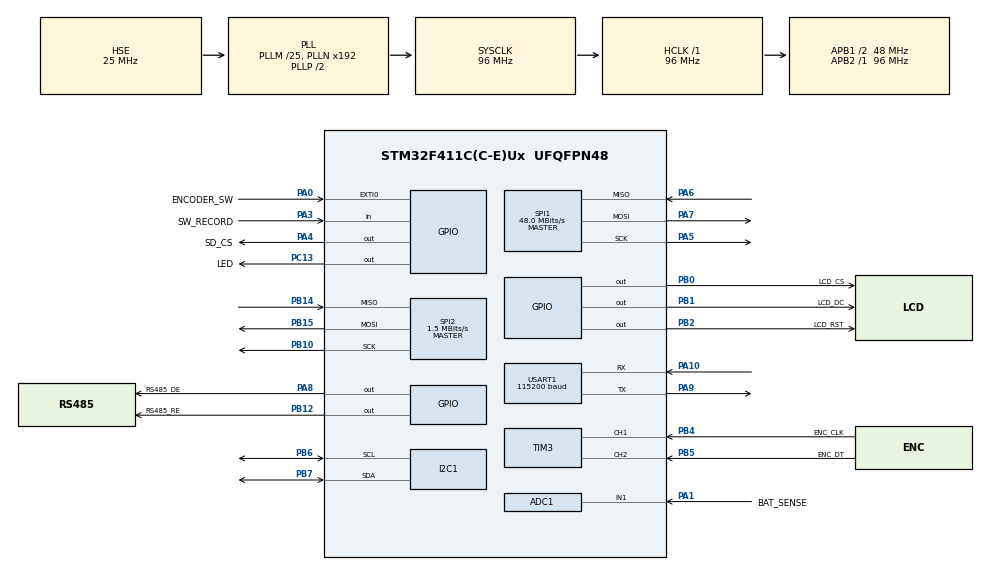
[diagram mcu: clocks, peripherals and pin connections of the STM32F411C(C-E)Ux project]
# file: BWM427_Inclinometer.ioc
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ADC1.Channel-0\#ChannelRegularConversion=ADC_CHANNEL_1
ADC1.NbrOfConversionFlag=1
ADC1.Rank-0\#ChannelRegularConversion=1
ADC1.SamplingTime-0\#ChannelRegularConversion=ADC_SAMPLETIME_3CYCLES
ADC1.master=1
FATFS._USE_LFN=3
Mcu.Family=STM32F4
Mcu.Name=STM32F411C(C-E)Ux
Mcu.Package=UFQFPN48
NVIC.EXTI0_IRQn=true\:0\:0\:false\:false\:true\:true\:true\:true
NVIC.PriorityGroup=NVIC_PRIORITYGROUP_4
NVIC.USART1_IRQn=true\:0\:0\:false\:false\:true\:true\:true\:true
PA0-WKUP.GPIO_Label=ENCODER_SW
PA0-WKUP.GPIO_ModeDefaultEXTI=GPIO_MODE_IT_FALLING
PA0-WKUP.Signal=GPXTI0
PA1.GPIO_Label=BAT_SENSE
PA1.Signal=ADCx_IN1
PA10.Mode=Asynchronous
PA10.Signal=USART1_RX
PA3.GPIO_Label=SW_RECORD
PA3.GPIO_PuPd=GPIO_PULLUP
PA3.Signal=GPIO_Input
PA4.GPIO_Label=SD_CS
PA4.GPIO_Speed=GPIO_SPEED_FREQ_VERY_HIGH
PA4.PinState=GPIO_PIN_SET
PA4.Signal=GPIO_Output
PA5.Mode=Full_Duplex_Master
PA5.Signal=SPI1_SCK
PA6.Mode=Full_Duplex_Master
PA6.Signal=SPI1_MISO
PA7.Mode=Full_Duplex_Master
PA7.Signal=SPI1_MOSI
PA8.GPIO_Label=RS485_DE
PA8.Signal=GPIO_Output
PA9.Mode=Asynchronous
PA9.Signal=USART1_TX
PB0.GPIO_Label=LCD_CS
PB0.GPIO_Speed=GPIO_SPEED_FREQ_VERY_HIGH
PB0.PinState=GPIO_PIN_SET
PB0.Signal=GPIO_Output
PB1.GPIO_Label=LCD_DC
PB1.GPIO_Speed=GPIO_SPEED_FREQ_VERY_HIGH
PB1.PinState=GPIO_PIN_SET
PB1.Signal=GPIO_Output
PB10.Mode=Full_Duplex_Master
PB10.Signal=SPI2_SCK
PB12.GPIO_Label=RS485_RE
PB12.Signal=GPIO_Output
PB14.Mode=Full_Duplex_Master
PB14.Signal=SPI2_MISO
PB15.Mode=Full_Duplex_Master
PB15.Signal=SPI2_MOSI
PB2.GPIO_Label=LCD_RST
PB2.GPIO_Speed=GPIO_SPEED_FREQ_VERY_HIGH
PB2.PinState=GPIO_PIN_SET
PB2.Signal=GPIO_Output
PB4.GPIO_Label=ENC_CLK
PB4.Signal=S_TIM3_CH1
PB5.GPIO_Label=ENC_DT
PB5.Signal=S_TIM3_CH2
PB6.Mode=I2C
PB6.Signal=I2C1_SCL
PB7.Mode=I2C
PB7.Signal=I2C1_SDA
PC13-ANTI_TAMP.GPIO_Label=LED
PC13-ANTI_TAMP.Signal=GPIO_Output
PH0\ -\ OSC_IN.Mode=HSE-External-Oscillator
PH0\ -\ OSC_IN.Signal=RCC_OSC_IN
PH1\ -\ OSC_OUT.Mode=HSE-External-Oscillator
PH1\ -\ OSC_OUT.Signal=RCC_OSC_OUT
ProjectManager.HeapSize=0x1000
ProjectManager.StackSize=0x400
ProjectManager.TargetToolchain=STM32CubeIDE
RCC.48MHZClocksFreq_Value=48000000
RCC.AHBFreq_Value=96000000
RCC.APB1CLKDivider=RCC_HCLK_DIV2
RCC.APB1Freq_Value=48000000
RCC.APB1TimFreq_Value=96000000
RCC.APB2Freq_Value=96000000
RCC.APB2TimFreq_Value=96000000
RCC.CortexFreq_Value=96000000
RCC.HCLKFreq_Value=96000000
RCC.HSE_VALUE=25000000
RCC.HSI_VALUE=16000000
RCC.LSE_VALUE=32768
RCC.PLLM=25
RCC.PLLSourceVirtual=RCC_PLLSOURCE_HSE
RCC.SYSCLKFreq_VALUE=96000000
RCC.SYSCLKSource=RCC_SYSCLKSOURCE_PLLCLK
RCC.VCOOutputFreq_Value=192000000
SH.ADCx_IN1.0=ADC1_IN1,IN1
SH.S_TIM3_CH1.0=TIM3_CH1,Encoder_Interface
SH.S_TIM3_CH2.0=TIM3_CH2,Encoder_Interface
SPI1.BaudRatePrescaler=SPI_BAUDRATEPRESCALER_2
SPI1.CalculateBaudRate=48.0 MBits/s
SPI1.Direction=SPI_DIRECTION_2LINES
SPI1.Mode=SPI_MODE_MASTER
SPI1.VirtualType=VM_MASTER
SPI2.BaudRatePrescaler=SPI_BAUDRATEPRESCALER_32
SPI2.CalculateBaudRate=1.5 MBits/s
SPI2.Direction=SPI_DIRECTION_2LINES
SPI2.Mode=SPI_MODE_MASTER
SPI2.VirtualType=VM_MASTER
TIM3.EncoderMode=TIM_ENCODERMODE_TI12
TIM3.IC1Filter=10
TIM3.IC2Filter=10
USART1.BaudRate=115200
USART1.VirtualMode=VM_ASYNC
VP_FATFS_VS_Generic.Mode=User_defined
board=custom

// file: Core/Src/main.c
/* USER CODE BEGIN Header */
/**
 ******************************************************************************
 * @file           : main.c
 * @brief          : Main program body
 ******************************************************************************
 * @attention
 *
 * Copyright (c) 2026 STMicroelectronics.
 * All rights reserved.
 *
 * This software is licensed under terms that can be found in the LICENSE file
 * in the root directory of this software component.
 * If no LICENSE file comes with this software, it is provided AS-IS.
 *
 ******************************************************************************
 */
/* USER CODE END Header */
#include "main.h"
#include "fatfs.h"

/* USER CODE BEGIN Includes */
#include <stdio.h>
#include <string.h>
#include <stdlib.h>
#include <math.h>
#include "ili9341.h"     // Подключить драйвер дисплея
#include "fonts.h"       // Подключить шрифты дисплея
#include "diskio.h"
#include "fatfs_sd.h"

// Структура для модуля часов (RTC)
typedef struct {
	uint8_t seconds, minutes, hours, day, date, month, year;
} RTC_Time;

RTC_Time current_time; // Глобальная переменная для хранения времени

/* USER CODE END Includes */

ADC_HandleTypeDef hadc1;

I2C_HandleTypeDef hi2c1;

SPI_HandleTypeDef hspi1;
SPI_HandleTypeDef hspi2;

TIM_HandleTypeDef htim3;

UART_HandleTypeDef huart1;

/* USER CODE BEGIN PV */
// --- Данные датчика и математика ---
uint8_t rx_buffer[9];
float angle_x[2] = { 0.0f, 0.0f }, angle_y[2] = { 0.0f, 0.0f }; // Массивы на 2 датчика
float offset_x[2] = { 0.0f, 0.0f }, offset_y[2] = { 0.0f, 0.0f };
uint8_t sensor2_online = 0; // Флаг: 0 - один датчик, 1 - два датчика
uint8_t modbus_ready = 0;

// --- EMA фильтрация ---
float ema_alpha = 0.15f; // Коэффициент сглаживания (от 0.01 до 0.99)
float ema_x = 0.0f, ema_y = 0.0f;
uint8_t ema_initialized = 0;

// --- Файловая система (SD карта) ---
FATFS fs;
FIL fil[2];
uint8_t is_recording = 0;
uint16_t file_number = 0;
uint8_t sd_err_code = 0; // Переменная для кода ошибки
char current_filename[16];

// --- Интерфейс и энкодер ---
int16_t last_encoder_cnt = 0;
int8_t menu_index = 0;
uint8_t edit_mode = 0;
uint16_t log_freq_hz = 10;
uint32_t log_delay_ms = 100;
int8_t prev_menu_index = -1;
uint8_t prev_edit_mode = 255;

// --- Мониторинг питания ---
float battery_v = 0.0f;

// --- Настройка RS485 (MAX485) ---
#define RS485_DE_PIN  RS485_DE_Pin
#define RS485_DE_PORT RS485_DE_GPIO_Port
#define RS485_RE_PIN  RS485_RE_Pin
#define RS485_RE_PORT RS485_RE_GPIO_Port

// --- Системные таймеры и алгоритм стабильности ---
uint32_t record_start_ms = 0;
float stability_buffer[10] = { 0 };
uint8_t buffer_idx = 0;
uint8_t is_stable = 0;
uint32_t lcd_timer = 0;

/* USER CODE END PV */

void SystemClock_Config(void);
static void MX_GPIO_Init(void);
static void MX_USART1_UART_Init(void);
static void MX_I2C1_Init(void);
static void MX_ADC1_Init(void);
static void MX_TIM3_Init(void);
static void MX_SPI2_Init(void);
static void MX_SPI1_Init(void);
/* USER CODE BEGIN PFP */
// Опросить датчик по протоколу Modbus RTU
void BWM427_ReadAngles(uint8_t sensor_id);

// Применить экспоненциальное сглаживание для фильтрации данных
float apply_ema(float old_value, float new_value, float alpha);

// Рассчитать контрольную сумму CRC16 для пакета Modbus
uint16_t Modbus_CRC16(uint8_t *buf, uint16_t len);

// Считать текущее время с модуля RTC (I2C)
void DS3231_GetTime(RTC_Time *time);
void DS3231_SetFullTime(uint8_t h, uint8_t m, uint8_t s, uint8_t d, uint8_t mo,
		uint8_t y);

// Отрисовать прямоугольную рамку на дисплее
void My_DrawFrame(uint16_t x, uint16_t y, uint16_t w, uint16_t h,
		uint16_t color);

uint8_t Dec_To_BCD(uint8_t val);
/* USER CODE END PFP */

int main(void) {

	/* MCU Configuration--------------------------------------------------------*/

	/* Reset of all peripherals, Initializes the Flash interface and the Systick. */
	HAL_Init();

	/* Configure the system clock */
	SystemClock_Config();

	/* Initialize all configured peripherals */
	MX_GPIO_Init();
	MX_USART1_UART_Init();
	MX_I2C1_Init();
	MX_FATFS_Init();
	MX_ADC1_Init();
	MX_TIM3_Init();
	MX_SPI2_Init();
	MX_SPI1_Init();
	/* USER CODE BEGIN 2 */
	// Выждать время для стабилизации питания и инициализации USB
	HAL_Delay(1000);

	// === ИНИЦИАЛИЗАЦИЯ ДИСПЛЕЯ ===
	ILI9341_Init();
	ILI9341_FillScreen(0x0000);

	// === ПИНГ ДАТЧИКА №2 ===
	BWM427_ReadAngles(0x02);
	if (angle_x[1] != 0.0f || angle_y[1] != 0.0f) {
		sensor2_online = 1; // Второй датчик откликнулся
	} else {
		sensor2_online = 0; // Разъем пуст
	}

	// Запустить таймер энкодера (аппаратный подсчет импульсов)
	HAL_TIM_Encoder_Start(&htim3, TIM_CHANNEL_ALL);

	// Запустить АЦП для мониторинга напряжения батареи
	HAL_ADC_Start(&hadc1);

	// Считать начальное значение энкодера
	last_encoder_cnt = __HAL_TIM_GET_COUNTER(&htim3);

	// �?нициализировать SD-карту
	HAL_Delay(500);
	FRESULT res = f_mount(&fs, "", 1);
	if (res == FR_OK) {
		FILINFO fno;
		for (uint16_t i = 1; i <= 999; i++) {
			sprintf(current_filename, "M_%03d.CSV", i);
			if (f_stat(current_filename, &fno) != FR_OK) {
				file_number = i;
				break;
			}
		}
	} else {
		file_number = 0;
		sd_err_code = res; // Сохраняем код ошибки!
	}
	// === ИНДИКАЦИЯ УСПЕШНОГО ЗАПУСКА ===
	for (int i = 0; i < 6; i++) {
		HAL_GPIO_TogglePin(GPIOC, GPIO_PIN_13);
		HAL_Delay(100);
	}
	HAL_GPIO_WritePin(GPIOC, GPIO_PIN_13, GPIO_PIN_SET);
	/* USER CODE END 2 */

	/* Infinite loop */
	/* USER CODE BEGIN WHILE */

	// Настройка времени
	DS3231_GetTime(&current_time);
	if (current_time.year < 26) {
		// Если год меньше 26, прошиваем время (например: 11:11:00, 11 сентября 01 года)
		DS3231_SetFullTime(21, 25, 00, 28, 5, 26);
	}

	static uint8_t last_sw_state = 0; // Сохранить прошлое состояние тумблера
	while (1) {
		char str_lcd[64];
		DS3231_GetTime(&current_time); // Получаем время с часов

		// 1. ОБРАБОТКА ЭНКОДЕРА (Защита от скачков и дребезка контактов)
		int16_t current_cnt = __HAL_TIM_GET_COUNTER(&htim3);
		int16_t raw_diff = (int16_t) (current_cnt - last_encoder_cnt);

		if (raw_diff >= 4 || raw_diff <= -4) {
			int16_t diff = (raw_diff / 4);
			last_encoder_cnt = current_cnt;

			if (edit_mode) {
				if (menu_index == 0) { // Настройка частоты
					log_freq_hz += diff;
					if (log_freq_hz < 1)
						log_freq_hz = 1;
					if (log_freq_hz > 50)
						log_freq_hz = 50;
					log_delay_ms = 1000 / log_freq_hz;
				} else if (menu_index == 1) { // Настройка Alpha фильтра
					ema_alpha += (float) diff * 0.01f;
					if (ema_alpha < 0.01f)
						ema_alpha = 0.01f;
					if (ema_alpha > 0.99f)
						ema_alpha = 0.99f;
				}
			} else {
				menu_index += diff;
				while (menu_index < 0)
					menu_index += 3;
				while (menu_index > 2)
					menu_index -= 3;
			}
		}

		// 2. МГНОВЕННАЯ ОТРИСОВКА РАМКИ (Эстетичная сетка)
		if (menu_index != prev_menu_index || edit_mode != prev_edit_mode) {
			// Координаты для 3 пунктов: 0-Freq, 1-Alpha, 2-Zero
			const uint16_t frame_x[3] = { 15, 165, 75 };
			const uint16_t frame_y[3] = { 145, 145, 185 };
			const uint16_t frame_w[3] = { 115, 125, 170 };

			if (prev_menu_index != -1) {
				// Стираем старую рамку цветом фона (черным)
				My_DrawFrame(frame_x[prev_menu_index], frame_y[prev_menu_index],
						frame_w[prev_menu_index], 24, 0x0000);
			}

			// Рисуем новую рамку (Желтая - редактирование, Голубая - выбор)
			uint16_t frame_color = edit_mode ? 0xFFE0 : 0x07FF;
			My_DrawFrame(frame_x[menu_index], frame_y[menu_index],
					frame_w[menu_index], 24, frame_color);

			prev_menu_index = menu_index;
			prev_edit_mode = edit_mode;
		}

		// 3. УПРАВЛЕНИЕ ЗАПИСЬЮ
		static uint8_t recording_blocked = 0; // Флаг блокировки авто-старта после сбоя
		uint8_t current_sw = HAL_GPIO_ReadPin(SW_RECORD_GPIO_Port,
		SW_RECORD_Pin);

		if (current_sw == 0) { // ЗАПИСЬ
			if (!is_recording && !recording_blocked && file_number > 0) {
				if (sensor2_online == 0) {
					BWM427_ReadAngles(0x02);
					if (angle_x[1] != 0.0f || angle_y[1] != 0.0f) {
						sensor2_online = 1; // Ура, его воткнули!
					}
				}
				char header[] =
						"Time,RawX,RawY,OffsetX,OffsetY,CalcX,CalcY,BatV\n";
				UINT bw;

				// Создаем файл для датчика №1
				sprintf(current_filename, "M_%03d_1.CSV", file_number);
				if (f_open(&fil[0], current_filename,
				FA_CREATE_ALWAYS | FA_WRITE) == FR_OK) {
					f_write(&fil[0], header, strlen(header), &bw);
				}

				// Если есть датчик №2, сразу создаем и для него
				if (sensor2_online) {
					sprintf(current_filename, "M_%03d_2.CSV", file_number);
					if (f_open(&fil[1], current_filename,
					FA_CREATE_ALWAYS | FA_WRITE) == FR_OK) {
						f_write(&fil[1], header, strlen(header), &bw);
					}
				}
				record_start_ms = HAL_GetTick();
				is_recording = 1;
			}
		} else { // СТОП
			recording_blocked = 0;
			if (is_recording) {
				f_close(&fil[0]);
				if (sensor2_online)
					f_close(&fil[1]); // Закрываем оба файла
				is_recording = 0;
				file_number++;
			}
		}
		last_sw_state = current_sw;

		// 4. ОПРОС ДАТЧИКА, РАСЧЕТ СТАБИЛЬНОСТИ И ЗАПИСЬ
		static uint32_t sensor_timer = 0;
		if (HAL_GetTick() - sensor_timer >= log_delay_ms) {

			BWM427_ReadAngles(0x01); // Опрос основного
			if (sensor2_online) {
				BWM427_ReadAngles(0x02); // Опрос резервного (если подключен)
			}

			// Для расчетов стабильности и экрана берем данные с первого (главного) датчика
			float calc_x = angle_x[0] - offset_x[0];
			float calc_y = angle_y[0] - offset_y[0];

			stability_buffer[buffer_idx] = calc_x;
			buffer_idx = (buffer_idx + 1) % 10;

			float min_v = stability_buffer[0], max_v = stability_buffer[0];
			for (int i = 1; i < 10; i++) {
				if (stability_buffer[i] < min_v)
					min_v = stability_buffer[i];
				if (stability_buffer[i] > max_v)
					max_v = stability_buffer[i];
			}
			is_stable = (max_v - min_v < 0.05f) ? 1 : 0;

			if (is_recording) {
				for (uint8_t i = 0; i < (sensor2_online ? 2 : 1); i++) {
					char buf[128];
					float cx = angle_x[i] - offset_x[i];
					float cy = angle_y[i] - offset_y[i];

					sprintf(buf,
							"%02d.%02d.%02d %02d:%02d:%02d,%.3f,%.3f,%.3f,%.3f,%.3f,%.3f,%.1f\n",
							current_time.date, current_time.month,
							current_time.year, current_time.hours,
							current_time.minutes, current_time.seconds,
							angle_x[i], angle_y[i], offset_x[i], offset_y[i],
							cx, cy, battery_v);

					UINT bw;
					FRESULT w_res = f_write(&fil[i], buf, strlen(buf), &bw);
					f_sync(&fil[i]);

					// Защита при случайном выдергивании
					if (w_res != FR_OK || bw == 0) {
						f_close(&fil[0]);
						if (sensor2_online)
							f_close(&fil[1]);
						is_recording = 0;
						file_number = 0;
						sd_err_code = w_res;
						recording_blocked = 1;
						HAL_SPI_DeInit(&hspi2);
						MX_SPI2_Init();
						break; // Выход из цикла записи
					}
				}
			}
			sensor_timer = HAL_GetTick();
		}

		// 5. МОНИТОРИНГ БАТАРЕИ
		static uint32_t bat_timer = 0;
		if (HAL_GetTick() - bat_timer >= 1000) {
			if (HAL_ADC_PollForConversion(&hadc1, 10) == HAL_OK) {
				uint32_t adc_val = HAL_ADC_GetValue(&hadc1);
				battery_v = ((float) adc_val / 4095.0f) * 3.3f * 4.03f;
			}
			HAL_ADC_Start(&hadc1);
			bat_timer = HAL_GetTick();
		}

		// === ПРОВЕРКА НАЛИЧИЯ SD КАРТЫ (ПРЯМОЙ АППАРАТНЫЙ ОБХОД) ===
		static uint32_t sd_check_timer = 0;
		static FRESULT last_mount_res = FR_NOT_READY;

		if (!is_recording && (HAL_GetTick() - sd_check_timer >= 2000)) {
			// 1. Смахиваем аппаратные ошибки SPI от дребезга контактов
			if (__HAL_SPI_GET_FLAG(&hspi2, SPI_FLAG_OVR)) {
				__HAL_SPI_CLEAR_OVRFLAG(&hspi2);
			}

			if (file_number > 0) {
				// 2. ПРОВЕРКА В ОБХОД КЭША ST. Читаем физический сектор 0 напрямую!
				static uint8_t check_buf[512];
				if (SD_disk_read(0, check_buf, 0, 1) != RES_OK) {
					// Физического ответа нет — карту 100% выдернули!
					file_number = 0;
					f_mount(NULL, "", 0);
					last_mount_res = FR_NOT_READY;
				}
			} else {
				f_mount(NULL, "", 0);

				// 3.Вызываем инициализацию напрямую!
				SD_disk_initialize(0);

				// 4. Монтируем.
				last_mount_res = f_mount(&fs, "", 1);

				if (last_mount_res == FR_OK) {
					recording_blocked = 0;
					FILINFO fno;
					for (uint16_t i = 1; i <= 999; i++) {
						sprintf(current_filename, "M_%03d.CSV", i);
						if (f_stat(current_filename, &fno) == FR_NO_FILE) {
							file_number = i;
							break;
						}
					}
					if (file_number == 0)
						file_number = 1;
				}
			}
			sd_check_timer = HAL_GetTick();
		}
		// 6. ОБНОВЛЕНИЕ ЭКРАНА
		if (HAL_GetTick() - lcd_timer >= 50) {
			static float old_x = -999.0f, old_y = -999.0f;
			float cur_x = angle_x[0] - offset_x[0]; // Экран всегда показывает датчик 1
			float cur_y = angle_y[0] - offset_y[0];

			// Углы
			if (fabsf(cur_x - old_x) > 0.005f) {
				sprintf(str_lcd, "X: %+7.3f ", cur_x);
				ILI9341_WriteString(10, 40, str_lcd, Font_16x26, 0xFFFF,
						0x0000);
				old_x = cur_x;
			}
			if (fabsf(cur_y - old_y) > 0.005f) {
				sprintf(str_lcd, "Y: %+7.3f ", cur_y);
				ILI9341_WriteString(10, 80, str_lcd, Font_16x26, 0xFFFF,
						0x0000);
				old_y = cur_y;
			}

			// Часы и дата
			sprintf(str_lcd, "%02d:%02d:%02d", current_time.hours,
					current_time.minutes, current_time.seconds);
			ILI9341_WriteString(220, 5, str_lcd, Font_11x18, 0xFFFF, 0x0000);
			sprintf(str_lcd, "%02d.%02d.20%02d", current_time.date,
					current_time.month, current_time.year);
			ILI9341_WriteString(220, 25, str_lcd, Font_7x10, 0x07FF, 0x0000);

			// Индикатор записи
			if (is_recording) {
				if ((HAL_GetTick() / 500) % 2) {
					ILI9341_WriteString(240, 45, "REC ", Font_11x18, 0xF800,
							0x0000);
				} else {
					ILI9341_WriteString(240, 45, "    ", Font_11x18, 0xFFFF,
							0x0000);
				}
			} else {
				ILI9341_WriteString(240, 45, "STOP", Font_11x18, 0x7BEF,
						0x0000);
			}

			// Меню
			sprintf(str_lcd, " Freq:%02d ", log_freq_hz);
			ILI9341_WriteString(20, 148, str_lcd, Font_11x18, 0xFFFF, 0x0000);

			sprintf(str_lcd, " Alp:%.2f ", ema_alpha);
			ILI9341_WriteString(170, 148, str_lcd, Font_11x18, 0xFFFF, 0x0000);

			ILI9341_WriteString(80, 188, " [ SET ZERO ] ", Font_11x18, 0xFFFF,
					0x0000);

			// Статус бар (Самая нижняя строка)
			sprintf(str_lcd, "BAT:%.1fV", battery_v);
			ILI9341_WriteString(5, 220, str_lcd, Font_7x10, 0xFFFF, 0x0000);

			// Отрисовка статуса SD (Сдвинуто на X=90)
			// Отрисовка статуса SD
			if (file_number > 0) {
				char status_str[30];
				// Выводим номер замера и количество найденных датчиков
				sprintf(status_str, "M_%03d [%dD]   ", file_number,
						sensor2_online ? 2 : 1);
				ILI9341_WriteString(90, 220, status_str, Font_7x10, 0xFFE0,
						0x0000);
			} else {
				char err_str[30];
				sprintf(err_str, "NO SD (E:%02d)   ", last_mount_res);
				ILI9341_WriteString(90, 220, err_str, Font_7x10, 0xF800,
						0x0000);
			}

			if (is_stable) {
				ILI9341_WriteString(240, 220, " READY ", Font_7x10, 0x07E0,
						0x0000);
			} else {
				ILI9341_WriteString(240, 220, " WAIT..", Font_7x10, 0xF800,
						0x0000);
			}

			lcd_timer = HAL_GetTick();
		}

		/* USER CODE END WHILE */

	}
}

void SystemClock_Config(void) {
	RCC_OscInitTypeDef RCC_OscInitStruct = { 0 };
	RCC_ClkInitTypeDef RCC_ClkInitStruct = { 0 };

	/** Configure the main internal regulator output voltage
	 */
	__HAL_RCC_PWR_CLK_ENABLE();
	__HAL_PWR_VOLTAGESCALING_CONFIG(PWR_REGULATOR_VOLTAGE_SCALE1);

	/** Initializes the RCC Oscillators according to the specified parameters
	 * in the RCC_OscInitTypeDef structure.
	 */
	RCC_OscInitStruct.OscillatorType = RCC_OSCILLATORTYPE_HSE;
	RCC_OscInitStruct.HSEState = RCC_HSE_ON;
	RCC_OscInitStruct.PLL.PLLState = RCC_PLL_ON;
	RCC_OscInitStruct.PLL.PLLSource = RCC_PLLSOURCE_HSE;
	RCC_OscInitStruct.PLL.PLLM = 25;
	RCC_OscInitStruct.PLL.PLLN = 192;
	RCC_OscInitStruct.PLL.PLLP = RCC_PLLP_DIV2;
	RCC_OscInitStruct.PLL.PLLQ = 4;
	if (HAL_RCC_OscConfig(&RCC_OscInitStruct) != HAL_OK) {
		Error_Handler();
	}

	/** Initializes the CPU, AHB and APB buses clocks
	 */
	RCC_ClkInitStruct.ClockType = RCC_CLOCKTYPE_HCLK | RCC_CLOCKTYPE_SYSCLK
			| RCC_CLOCKTYPE_PCLK1 | RCC_CLOCKTYPE_PCLK2;
	RCC_ClkInitStruct.SYSCLKSource = RCC_SYSCLKSOURCE_PLLCLK;
	RCC_ClkInitStruct.AHBCLKDivider = RCC_SYSCLK_DIV1;
	RCC_ClkInitStruct.APB1CLKDivider = RCC_HCLK_DIV2;
	RCC_ClkInitStruct.APB2CLKDivider = RCC_HCLK_DIV1;

	if (HAL_RCC_ClockConfig(&RCC_ClkInitStruct, FLASH_LATENCY_3) != HAL_OK) {
		Error_Handler();
	}
}

static void MX_ADC1_Init(void) {

	ADC_ChannelConfTypeDef sConfig = { 0 };

	/** Configure the global features of the ADC (Clock, Resolution, Data Alignment and number of conversion)
	 */
	hadc1.Instance = ADC1;
	hadc1.Init.ClockPrescaler = ADC_CLOCK_SYNC_PCLK_DIV4;
	hadc1.Init.Resolution = ADC_RESOLUTION_12B;
	hadc1.Init.ScanConvMode = DISABLE;
	hadc1.Init.ContinuousConvMode = DISABLE;
	hadc1.Init.DiscontinuousConvMode = DISABLE;
	hadc1.Init.ExternalTrigConvEdge = ADC_EXTERNALTRIGCONVEDGE_NONE;
	hadc1.Init.ExternalTrigConv = ADC_SOFTWARE_START;
	hadc1.Init.DataAlign = ADC_DATAALIGN_RIGHT;
	hadc1.Init.NbrOfConversion = 1;
	hadc1.Init.DMAContinuousRequests = DISABLE;
	hadc1.Init.EOCSelection = ADC_EOC_SINGLE_CONV;
	if (HAL_ADC_Init(&hadc1) != HAL_OK) {
		Error_Handler();
	}

	/** Configure for the selected ADC regular channel its corresponding rank in the sequencer and its sample time.
	 */
	sConfig.Channel = ADC_CHANNEL_1;
	sConfig.Rank = 1;
	sConfig.SamplingTime = ADC_SAMPLETIME_3CYCLES;
	if (HAL_ADC_ConfigChannel(&hadc1, &sConfig) != HAL_OK) {
		Error_Handler();
	}

}

static void MX_I2C1_Init(void) {

	hi2c1.Instance = I2C1;
	hi2c1.Init.ClockSpeed = 100000;
	hi2c1.Init.DutyCycle = I2C_DUTYCYCLE_2;
	hi2c1.Init.OwnAddress1 = 0;
	hi2c1.Init.AddressingMode = I2C_ADDRESSINGMODE_7BIT;
	hi2c1.Init.DualAddressMode = I2C_DUALADDRESS_DISABLE;
	hi2c1.Init.OwnAddress2 = 0;
	hi2c1.Init.GeneralCallMode = I2C_GENERALCALL_DISABLE;
	hi2c1.Init.NoStretchMode = I2C_NOSTRETCH_DISABLE;
	if (HAL_I2C_Init(&hi2c1) != HAL_OK) {
		Error_Handler();
	}

}

static void MX_SPI1_Init(void) {

	/* SPI1 parameter configuration*/
	hspi1.Instance = SPI1;
	hspi1.Init.Mode = SPI_MODE_MASTER;
	hspi1.Init.Direction = SPI_DIRECTION_2LINES;
	hspi1.Init.DataSize = SPI_DATASIZE_8BIT;
	hspi1.Init.CLKPolarity = SPI_POLARITY_LOW;
	hspi1.Init.CLKPhase = SPI_PHASE_1EDGE;
	hspi1.Init.NSS = SPI_NSS_SOFT;
	hspi1.Init.BaudRatePrescaler = SPI_BAUDRATEPRESCALER_2;
	hspi1.Init.FirstBit = SPI_FIRSTBIT_MSB;
	hspi1.Init.TIMode = SPI_TIMODE_DISABLE;
	hspi1.Init.CRCCalculation = SPI_CRCCALCULATION_DISABLE;
	hspi1.Init.CRCPolynomial = 10;
	if (HAL_SPI_Init(&hspi1) != HAL_OK) {
		Error_Handler();
	}

}

static void MX_SPI2_Init(void) {

	/* SPI2 parameter configuration*/
	hspi2.Instance = SPI2;
	hspi2.Init.Mode = SPI_MODE_MASTER;
	hspi2.Init.Direction = SPI_DIRECTION_2LINES;
	hspi2.Init.DataSize = SPI_DATASIZE_8BIT;
	hspi2.Init.CLKPolarity = SPI_POLARITY_LOW;
	hspi2.Init.CLKPhase = SPI_PHASE_1EDGE;
	hspi2.Init.NSS = SPI_NSS_SOFT;
	hspi2.Init.BaudRatePrescaler = SPI_BAUDRATEPRESCALER_32;
	hspi2.Init.FirstBit = SPI_FIRSTBIT_MSB;
	hspi2.Init.TIMode = SPI_TIMODE_DISABLE;
	hspi2.Init.CRCCalculation = SPI_CRCCALCULATION_DISABLE;
	hspi2.Init.CRCPolynomial = 10;
	if (HAL_SPI_Init(&hspi2) != HAL_OK) {
		Error_Handler();
	}

}

static void MX_TIM3_Init(void) {

	TIM_Encoder_InitTypeDef sConfig = { 0 };
	TIM_MasterConfigTypeDef sMasterConfig = { 0 };

	htim3.Instance = TIM3;
	htim3.Init.Prescaler = 0;
	htim3.Init.CounterMode = TIM_COUNTERMODE_UP;
	htim3.Init.Period = 65535;
	htim3.Init.ClockDivision = TIM_CLOCKDIVISION_DIV1;
	htim3.Init.AutoReloadPreload = TIM_AUTORELOAD_PRELOAD_DISABLE;
	sConfig.EncoderMode = TIM_ENCODERMODE_TI12;
	sConfig.IC1Polarity = TIM_ICPOLARITY_RISING;
	sConfig.IC1Selection = TIM_ICSELECTION_DIRECTTI;
	sConfig.IC1Prescaler = TIM_ICPSC_DIV1;
	sConfig.IC1Filter = 10;
	sConfig.IC2Polarity = TIM_ICPOLARITY_RISING;
	sConfig.IC2Selection = TIM_ICSELECTION_DIRECTTI;
	sConfig.IC2Prescaler = TIM_ICPSC_DIV1;
	sConfig.IC2Filter = 10;
	if (HAL_TIM_Encoder_Init(&htim3, &sConfig) != HAL_OK) {
		Error_Handler();
	}
	sMasterConfig.MasterOutputTrigger = TIM_TRGO_RESET;
	sMasterConfig.MasterSlaveMode = TIM_MASTERSLAVEMODE_DISABLE;
	if (HAL_TIMEx_MasterConfigSynchronization(&htim3, &sMasterConfig)
			!= HAL_OK) {
		Error_Handler();
	}

}

static void MX_USART1_UART_Init(void) {

	huart1.Instance = USART1;
	huart1.Init.BaudRate = 115200;
	huart1.Init.WordLength = UART_WORDLENGTH_8B;
	huart1.Init.StopBits = UART_STOPBITS_1;
	huart1.Init.Parity = UART_PARITY_NONE;
	huart1.Init.Mode = UART_MODE_TX_RX;
	huart1.Init.HwFlowCtl = UART_HWCONTROL_NONE;
	huart1.Init.OverSampling = UART_OVERSAMPLING_16;
	if (HAL_UART_Init(&huart1) != HAL_OK) {
		Error_Handler();
	}

}

static void MX_GPIO_Init(void) {
	GPIO_InitTypeDef GPIO_InitStruct = { 0 };

	/* GPIO Ports Clock Enable */
	__HAL_RCC_GPIOC_CLK_ENABLE();
	__HAL_RCC_GPIOH_CLK_ENABLE();
	__HAL_RCC_GPIOA_CLK_ENABLE();
	__HAL_RCC_GPIOB_CLK_ENABLE();

	/*Configure GPIO pin Output Level */
	HAL_GPIO_WritePin(LED_GPIO_Port, LED_Pin, GPIO_PIN_RESET);

	/*Configure GPIO pin Output Level */
	HAL_GPIO_WritePin(SD_CS_GPIO_Port, SD_CS_Pin, GPIO_PIN_SET);

	/*Configure GPIO pin Output Level */
	HAL_GPIO_WritePin(GPIOB, LCD_CS_Pin | LCD_DC_Pin | LCD_RST_Pin,
			GPIO_PIN_SET);

	/*Configure GPIO pin Output Level */
	HAL_GPIO_WritePin(RS485_RE_GPIO_Port, RS485_RE_Pin, GPIO_PIN_RESET);

	/*Configure GPIO pin Output Level */
	HAL_GPIO_WritePin(RS485_DE_GPIO_Port, RS485_DE_Pin, GPIO_PIN_RESET);

	/*Configure GPIO pin : LED_Pin */
	GPIO_InitStruct.Pin = LED_Pin;
	GPIO_InitStruct.Mode = GPIO_MODE_OUTPUT_PP;
	GPIO_InitStruct.Pull = GPIO_NOPULL;
	GPIO_InitStruct.Speed = GPIO_SPEED_FREQ_LOW;
	HAL_GPIO_Init(LED_GPIO_Port, &GPIO_InitStruct);

	/*Configure GPIO pin : ENCODER_SW_Pin */
	GPIO_InitStruct.Pin = ENCODER_SW_Pin;
	GPIO_InitStruct.Mode = GPIO_MODE_IT_FALLING;
	GPIO_InitStruct.Pull = GPIO_NOPULL;
	HAL_GPIO_Init(ENCODER_SW_GPIO_Port, &GPIO_InitStruct);

	/*Configure GPIO pin : SW_RECORD_Pin */
	GPIO_InitStruct.Pin = SW_RECORD_Pin;
	GPIO_InitStruct.Mode = GPIO_MODE_INPUT;
	GPIO_InitStruct.Pull = GPIO_PULLUP;
	HAL_GPIO_Init(SW_RECORD_GPIO_Port, &GPIO_InitStruct);

	/*Configure GPIO pin : SD_CS_Pin */
	GPIO_InitStruct.Pin = SD_CS_Pin;
	GPIO_InitStruct.Mode = GPIO_MODE_OUTPUT_PP;
	GPIO_InitStruct.Pull = GPIO_NOPULL;
	GPIO_InitStruct.Speed = GPIO_SPEED_FREQ_VERY_HIGH;
	HAL_GPIO_Init(SD_CS_GPIO_Port, &GPIO_InitStruct);

	/*Configure GPIO pins : LCD_CS_Pin LCD_DC_Pin LCD_RST_Pin */
	GPIO_InitStruct.Pin = LCD_CS_Pin | LCD_DC_Pin | LCD_RST_Pin;
	GPIO_InitStruct.Mode = GPIO_MODE_OUTPUT_PP;
	GPIO_InitStruct.Pull = GPIO_NOPULL;
	GPIO_InitStruct.Speed = GPIO_SPEED_FREQ_VERY_HIGH;
	HAL_GPIO_Init(GPIOB, &GPIO_InitStruct);

	/*Configure GPIO pin : RS485_RE_Pin */
	GPIO_InitStruct.Pin = RS485_RE_Pin;
	GPIO_InitStruct.Mode = GPIO_MODE_OUTPUT_PP;
	GPIO_InitStruct.Pull = GPIO_NOPULL;
	GPIO_InitStruct.Speed = GPIO_SPEED_FREQ_LOW;
	HAL_GPIO_Init(RS485_RE_GPIO_Port, &GPIO_InitStruct);

	/*Configure GPIO pin : RS485_DE_Pin */
	GPIO_InitStruct.Pin = RS485_DE_Pin;
	GPIO_InitStruct.Mode = GPIO_MODE_OUTPUT_PP;
	GPIO_InitStruct.Pull = GPIO_NOPULL;
	GPIO_InitStruct.Speed = GPIO_SPEED_FREQ_LOW;
	HAL_GPIO_Init(RS485_DE_GPIO_Port, &GPIO_InitStruct);

	/* EXTI interrupt init*/
	HAL_NVIC_SetPriority(EXTI0_IRQn, 0, 0);
	HAL_NVIC_EnableIRQ(EXTI0_IRQn);

	/* USER CODE BEGIN MX_GPIO_Init_2 */
// Настройка встроенного светодиода (PC13)
	GPIO_InitStruct.Pin = GPIO_PIN_13;
	GPIO_InitStruct.Mode = GPIO_MODE_OUTPUT_PP;
	GPIO_InitStruct.Pull = GPIO_NOPULL;
	GPIO_InitStruct.Speed = GPIO_SPEED_FREQ_LOW;
	HAL_GPIO_Init(GPIOC, &GPIO_InitStruct);
	HAL_GPIO_WritePin(GPIOC, GPIO_PIN_13, GPIO_PIN_SET);

	/* USER CODE END MX_GPIO_Init_2 */
}

/* USER CODE BEGIN 4 */

// 1.Конвертер из формата часов (BCD) в обычные числа
uint8_t BCD_To_Dec(uint8_t val) {
	return (uint8_t) ((val / 16 * 10) + (val % 16));
}
// Конвертер из обычных чисел в формат BCD
uint8_t Dec_To_BCD(uint8_t val) {
	return (uint8_t) ((val / 10 * 16) + (val % 10));
}

// 2. Обновленное чтение ВСЕХ параметров времени и даты
void DS3231_GetTime(RTC_Time *time) {
	uint8_t g[7];
// 0xD0 - адрес, 0x00 - стартовый регистр, 7 байт данных
	if (HAL_I2C_Mem_Read(&hi2c1, 0xD0, 0x00, 1, g, 7, 1000) == HAL_OK) {
		time->seconds = BCD_To_Dec(g[0]);
		time->minutes = BCD_To_Dec(g[1]);
		time->hours = BCD_To_Dec(g[2] & 0x3F);
		time->date = BCD_To_Dec(g[4]);
		time->month = BCD_To_Dec(g[5] & 0x7F);
		time->year = BCD_To_Dec(g[6]);
	}

}

// 3. Функция для разовой установки времени
void DS3231_SetFullTime(uint8_t h, uint8_t m, uint8_t s, uint8_t d, uint8_t mo,
		uint8_t y) {
	uint8_t t[7];
	t[0] = Dec_To_BCD(s);
	t[1] = Dec_To_BCD(m);
	t[2] = Dec_To_BCD(h);
	t[3] = 1; // День недели
	t[4] = Dec_To_BCD(d);
	t[5] = Dec_To_BCD(mo);
	t[6] = Dec_To_BCD(y);
	HAL_I2C_Mem_Write(&hi2c1, 0xD0, 0x00, 1, t, 7, 1000);
}

// Рассчитать контрольную сумму CRC16 для протокола Modbus RTU
uint16_t Modbus_CRC16(uint8_t *buf, uint16_t len) {
	uint16_t crc = 0xFFFF;
	for (uint16_t pos = 0; pos < len; pos++) {
		crc ^= (uint16_t) buf[pos];
		for (int i = 8; i != 0; i--) {
			if ((crc & 0x0001) != 0) {
				crc >>= 1;
				crc ^= 0xA001;
			} else {
				crc >>= 1;
			}
		}
	}
	return crc; // Возвращает Low byte в младшем байте, High byte в старшем
}
// Применить экспоненциальное сглаживание (фильтр EMA)
float apply_ema(float old_value, float new_value, float alpha) {
	return (alpha * new_value) + ((1.0f - alpha) * old_value);
}

// Быстрый и пуленепробиваемый медианный фильтр для 3 значений
float median3(float a, float b, float c) {
	float temp;
	if (a > b) {
		temp = a;
		a = b;
		b = temp;
	}
	if (b > c) {
		temp = b;
		b = c;
		c = temp;
	}
	if (a > b) {
		temp = a;
		a = b;
		b = temp;
	}
	return b;
}

// Опросить датчик BWM427 по интерфейсу RS485 (Modbus RTU)
void BWM427_ReadAngles(uint8_t sensor_id) {
	uint8_t arr_idx = sensor_id - 1; // 0 для ID=1, 1 для ID=2

	// Сформировать запрос (подставляем нужный ID)
	uint8_t cmd[8] = { sensor_id, 0x03, 0x00, 0x01, 0x00, 0x02, 0x00, 0x00 };
	uint16_t crc = Modbus_CRC16(cmd, 6);
	cmd[6] = (uint8_t) (crc & 0xFF);
	cmd[7] = (uint8_t) ((crc >> 8) & 0xFF);

	// Переключить MAX485 в режим передачи
	HAL_GPIO_WritePin(RS485_DE_PORT, RS485_DE_PIN, GPIO_PIN_SET);
	HAL_GPIO_WritePin(RS485_RE_PORT, RS485_RE_PIN, GPIO_PIN_SET);
	HAL_UART_Transmit(&huart1, cmd, 8, 10);

	// Дождаться завершения физической передачи
	while (__HAL_UART_GET_FLAG(&huart1, UART_FLAG_TC) == RESET)
		;

	// Переключить MAX485 в режим приема
	HAL_GPIO_WritePin(RS485_DE_PORT, RS485_DE_PIN, GPIO_PIN_RESET);
	HAL_GPIO_WritePin(RS485_RE_PORT, RS485_RE_PIN, GPIO_PIN_RESET);

	// Принять ответ (таймаут 30 мс, чтобы не тормозить цикл, если датчика нет)
	if (HAL_UART_Receive(&huart1, rx_buffer, 9, 10) == HAL_OK) {
		uint16_t received_crc = (rx_buffer[8] << 8) | rx_buffer[7];
		if (Modbus_CRC16(rx_buffer, 7) == received_crc) {

			int16_t rx_x = (int16_t) ((rx_buffer[3] << 8) | rx_buffer[4]);
			int16_t rx_y = (int16_t) ((rx_buffer[5] << 8) | rx_buffer[6]);

			float raw_angle_x = (float) (rx_x - 10000) / 100.0f;
			float raw_angle_y = (float) (rx_y - 10000) / 100.0f;

			// --- КАСКАДНАЯ ФИЛЬТРАЦИЯ ДЛЯ 2 ДАТЧИКОВ ---
			static float m_buf_x[2][3] = { 0 };
			static float m_buf_y[2][3] = { 0 };
			static float ema_x[2] = { 0 };
			static float ema_y[2] = { 0 };
			static uint8_t init_flag[2] = { 0, 0 };

			// Быстрое заполнение буфера при самом первом запуске датчика
			if (!init_flag[arr_idx]) {
				m_buf_x[arr_idx][0] = m_buf_x[arr_idx][1] =
						m_buf_x[arr_idx][2] = raw_angle_x;
				m_buf_y[arr_idx][0] = m_buf_y[arr_idx][1] =
						m_buf_y[arr_idx][2] = raw_angle_y;
			}

			// Сдвигаем буфер
			m_buf_x[arr_idx][2] = m_buf_x[arr_idx][1];
			m_buf_x[arr_idx][1] = m_buf_x[arr_idx][0];
			m_buf_x[arr_idx][0] = raw_angle_x;
			m_buf_y[arr_idx][2] = m_buf_y[arr_idx][1];
			m_buf_y[arr_idx][1] = m_buf_y[arr_idx][0];
			m_buf_y[arr_idx][0] = raw_angle_y;

			// 1. Медианный фильтр
			float med_x = median3(m_buf_x[arr_idx][0], m_buf_x[arr_idx][1],
					m_buf_x[arr_idx][2]);
			float med_y = median3(m_buf_y[arr_idx][0], m_buf_y[arr_idx][1],
					m_buf_y[arr_idx][2]);

			// 2. EMA фильтр
			if (!init_flag[arr_idx]) {
				ema_x[arr_idx] = med_x;
				ema_y[arr_idx] = med_y;
				init_flag[arr_idx] = 1;
			} else {
				ema_x[arr_idx] = apply_ema(ema_x[arr_idx], med_x, ema_alpha);
				ema_y[arr_idx] = apply_ema(ema_y[arr_idx], med_y, ema_alpha);
			}

			// Сохраняем в глобальный массив
			angle_x[arr_idx] = ema_x[arr_idx];
			angle_y[arr_idx] = ema_y[arr_idx];
			modbus_ready = 1;
		}
	}
}

// Обработать прерывание от кнопки энкодера (PA0)
void HAL_GPIO_EXTI_Callback(uint16_t GPIO_Pin) {
	if (GPIO_Pin == ENCODER_SW_Pin) {
		static uint32_t last_press_time = 0;
		if (HAL_GetTick() - last_press_time > 200) {

			if (menu_index == 2) { // Обнуление для обоих датчиков
				offset_x[0] = angle_x[0];
				offset_y[0] = angle_y[0];
				offset_x[1] = angle_x[1];
				offset_y[1] = angle_y[1];
			} else {
				edit_mode = !edit_mode;
			}

			last_press_time = HAL_GetTick();
		}
	}
}

// Функция для рисования рамки вокруг выбранного пункта
void My_DrawFrame(uint16_t x, uint16_t y, uint16_t w, uint16_t h,
		uint16_t color) {
	uint8_t thickness = 2; // Толщина рамки в пикселях

	for (uint8_t t = 0; t < thickness; t++) {
		// Рисуем горизонтальные линии
		for (uint16_t i = x; i < x + w; i++) {
			ILI9341_DrawPixel(i, y + t, color);
			ILI9341_DrawPixel(i, y + h - t, color);
		}
		// Рисуем вертикальные линии
		for (uint16_t i = y; i < y + h; i++) {
			ILI9341_DrawPixel(x + t, i, color);
			ILI9341_DrawPixel(x + w - t, i, color);
		}
	}
}
/* USER CODE END 4 */

void Error_Handler(void) {
	__disable_irq();
	while (1) {
	}
}
